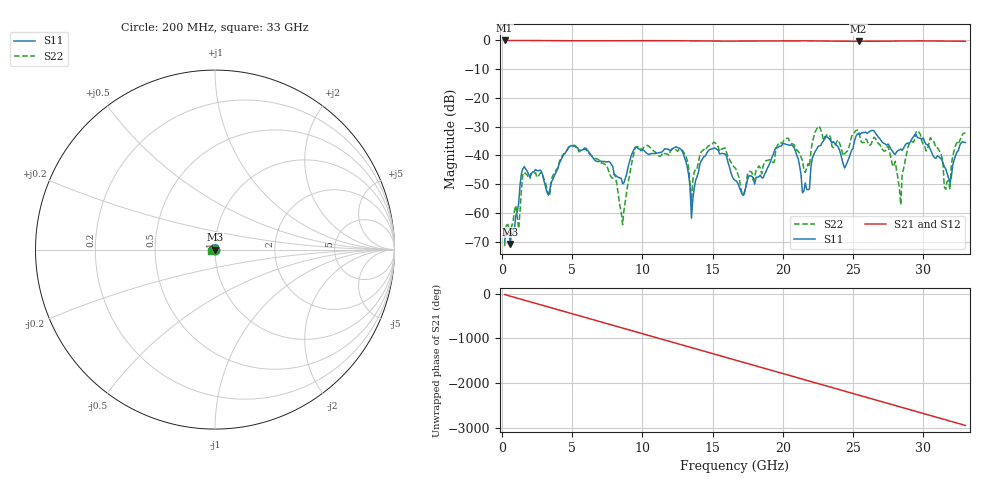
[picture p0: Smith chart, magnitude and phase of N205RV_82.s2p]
# GHZ S RI R 50
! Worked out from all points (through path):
!   329 points, 200 MHz to 33 GHz, reference 50 ohm
!   highest |S21| = -0.01 dB at 200 MHz (marker M1); lowest = -0.3 dB at 25.4 GHz (marker M2)
!   group delay of S21, straight-line fit = 248 ps
!   lowest |S11| = -70.7 dB at 600 MHz (marker M3), VSWR 1.00, Z = 50 + j0.0215 ohm
!   |S11| at or under -10 dB: start of sweep to end of sweep
!   |S22| runs from -71.5 to -29.9 dB; largest |S21 - S12| = 0.0019
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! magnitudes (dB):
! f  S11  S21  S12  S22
! 200 MHz  -69.6  0.0  0.0  -71.5
! 600 MHz  -70.7  0.0  0.0  -67.4
! 1.2 GHz  -56.7  0.0  0.0  -65.6
! 1.6 GHz  -43.9  0.0  0.0  -45.9
! 3.3 GHz  -53.5  -0.1  -0.1  -53.7
! 5.7 GHz  -38.1  -0.1  -0.1  -38.0
! 8 GHz  -46.6  -0.1  -0.1  -46.3
! 8.6 GHz  -49.9  -0.1  -0.1  -64.1
! 9.5 GHz  -37.1  -0.1  -0.1  -37.3
! 11.2 GHz  -39.1  -0.1  -0.1  -40.3
! 12.9 GHz  -39.1  -0.1  -0.1  -38.5
! 13.5 GHz  -61.8  -0.2  -0.2  -56.1
! 14.8 GHz  -37.9  -0.2  -0.2  -36.4
! 16.6 GHz  -48.7  -0.2  -0.2  -44.3
! 21.4 GHz  -53.0  -0.2  -0.2  -41.8
! 22.1 GHz  -40.9  -0.2  -0.2  -35.4
! 25.4 GHz  -32.6  -0.3  -0.3  -31.3
! 27.6 GHz  -36.9  -0.2  -0.2  -38.8
! 28.4 GHz  -37.8  -0.2  -0.2  -57.2
! 29.5 GHz  -32.9  -0.2  -0.2  -31.5
! 31.6 GHz  -44.6  -0.2  -0.2  -51.8
! 33 GHz  -35.5  -0.3  -0.3  -32.1
